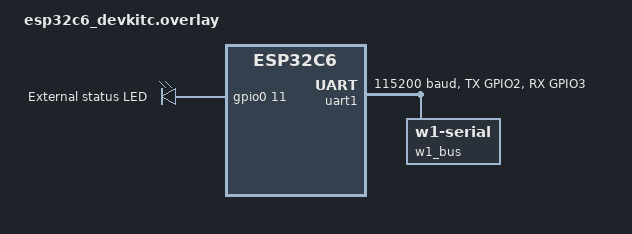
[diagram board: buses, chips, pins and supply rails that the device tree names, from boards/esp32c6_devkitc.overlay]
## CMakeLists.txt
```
cmake_minimum_required(VERSION 3.20.0)

find_package(Zephyr REQUIRED HINTS $ENV{ZEPHYR_BASE})
project(smarthome_firmware)

target_sources(app PRIVATE src/main.c src/status_led.c src/temperature.c)
zephyr_include_directories(include)
```

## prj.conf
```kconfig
CONFIG_PRINTK=y
CONFIG_GPIO=y
CONFIG_SENSOR=y
CONFIG_W1=y
```

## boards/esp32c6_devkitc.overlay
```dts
#include <zephyr/dt-bindings/gpio/gpio.h>
#include <zephyr/dt-bindings/pinctrl/esp-pinctrl-common.h>
#include <zephyr/dt-bindings/pinctrl/esp32c6-pinctrl.h>
#include <zephyr/dt-bindings/pinctrl/esp32c6-gpio-sigmap.h>

/ {
	aliases {
		status-led0 = &status_led0;
	};

	leds {
		compatible = "gpio-leds";

		status_led0: status_led_0 {
			gpios = <&gpio0 11 GPIO_ACTIVE_HIGH>;
			label = "External status LED";
		};
	};
};

&pinctrl {
	uart1_default: uart1_default {
		group1 {
			pinmux = <UART1_TX_GPIO2>;
		};
		group2 {
			pinmux = <UART1_RX_GPIO3>;
			bias-pull-up;
		};
	};
};

&uart1 {
	pinctrl-0 = <&uart1_default>;
	pinctrl-names = "default";
	current-speed = <115200>;
	status = "okay";

	w1_bus: w1-bus {
		compatible = "zephyr,w1-serial";
		#address-cells = <1>;
		#size-cells = <0>;
		status = "okay";

		ds18b20: ds18b20 {
			compatible = "maxim,ds18b20";
			family-code = <0x28>;
			resolution = <12>;
			status = "okay";
		};
	};
};
```

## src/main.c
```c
#include <stdbool.h>
#include <stdint.h>

#include <zephyr/device.h>
#include <zephyr/devicetree.h>
#include <zephyr/drivers/gpio.h>
#include <zephyr/drivers/sensor.h>
#include <zephyr/kernel.h>
#include <zephyr/sys/printk.h>

#include "smarthome/status_led.h"
#include "smarthome/temperature.h"

#if DT_HAS_ALIAS(status_led0)
#define STATUS_LED_NODE DT_ALIAS(status_led0)
static const struct gpio_dt_spec status_led = GPIO_DT_SPEC_GET(STATUS_LED_NODE, gpios);
#endif

static void initialize_status_led(void)
{
#if DT_HAS_ALIAS(status_led0)
    if (!gpio_is_ready_dt(&status_led)) {
        printk("Status LED unavailable: GPIO device not ready\n");
        return;
    }

    const int error = smarthome_status_led_configure_inactive(&status_led);
    if (error < 0) {
        printk("Status LED unavailable: GPIO configuration error %d\n", error);
    }
#endif
}

#if DT_HAS_COMPAT_STATUS_OKAY(maxim_ds18b20)
int main(void)
{
    initialize_status_led();
    printk("SmartHome firmware booted\n");

    const struct device *sensor = DEVICE_DT_GET(DT_NODELABEL(ds18b20));
    if (!device_is_ready(sensor)) {
        printk("DS18B20 unavailable: device not ready\n");
        return 0;
    }

    while (true) {
        struct sensor_value temperature;
        int error = sensor_sample_fetch(sensor);
        if (error == 0) {
            error = sensor_channel_get(sensor, SENSOR_CHAN_AMBIENT_TEMP, &temperature);
        }

        if (error < 0) {
            printk("DS18B20 unavailable: error %d\n", error);
        } else {
            int64_t micro_celsius;
            if (!smarthome_temperature_to_micro_celsius(&temperature, &micro_celsius)) {
                printk("DS18B20 unavailable: conversion error\n");
            } else {
                printk("DS18B20: %lld micro-C uptime_ms=%lld\n", (long long)micro_celsius, (long long)k_uptime_get());
            }
        }

        k_sleep(K_SECONDS(60));
    }
}
#else
int main(void)
{
    initialize_status_led();
    printk("SmartHome firmware booted\n");
    return 0;
}
#endif
```

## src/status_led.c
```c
#include "smarthome/status_led.h"

int smarthome_status_led_configure_inactive(const struct gpio_dt_spec *led)
{
    return gpio_pin_configure_dt(led, GPIO_OUTPUT_INACTIVE);
}
```

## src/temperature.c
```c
#include <zephyr/drivers/sensor.h>

#include "smarthome/temperature.h"

bool smarthome_temperature_to_micro_celsius(const struct sensor_value *temperature, int64_t *micro_celsius)
{
    if (temperature == NULL || micro_celsius == NULL) {
        return false;
    }

    *micro_celsius = sensor_value_to_micro(temperature);
    return true;
}
```
